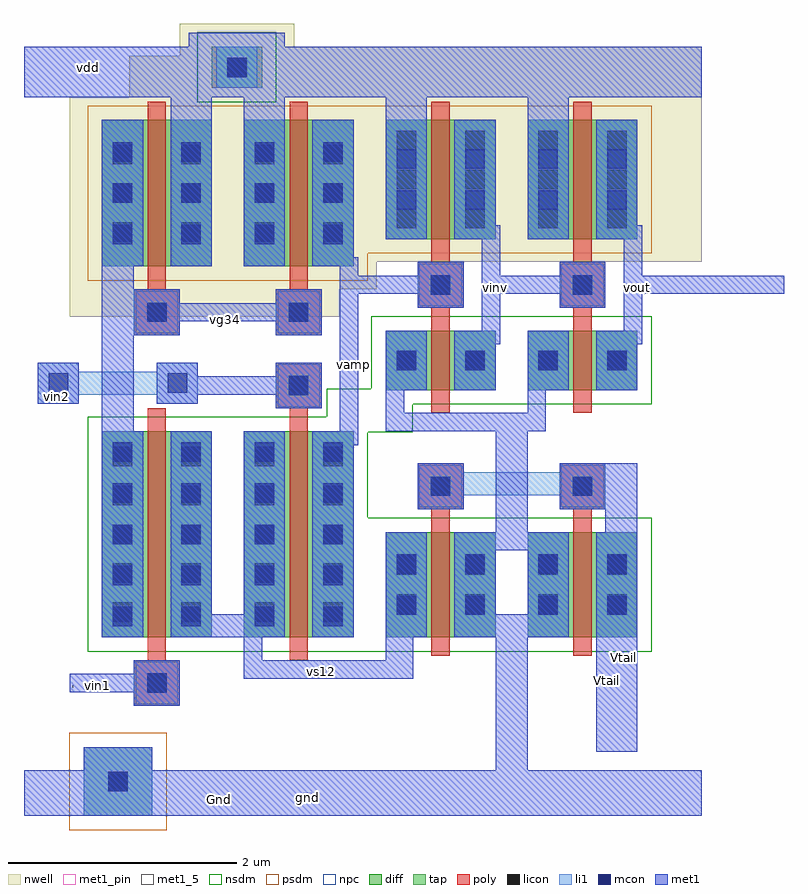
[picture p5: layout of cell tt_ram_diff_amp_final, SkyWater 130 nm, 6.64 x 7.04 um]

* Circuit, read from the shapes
.subckt tt_ram_diff_amp_final Gnd Vdd Vin1 Vin2 Vinv Vtail vamp vg34 vout vs12
XM1 vs12 Vin1 vg34 Gnd sky130_fd_pr__nfet_01v8 w=1.8 l=0.16
XM2 vamp Vin2 vs12 Gnd sky130_fd_pr__nfet_01v8 w=1.8 l=0.16
XM3 Gnd Vtail vs12 Gnd sky130_fd_pr__nfet_01v8 w=0.92 l=0.16
XM4 Vinv vamp Gnd Gnd sky130_fd_pr__nfet_01v8 w=0.52 l=0.16
XM5 Vtail Vtail Gnd Gnd sky130_fd_pr__nfet_01v8 w=0.92 l=0.16
XM6 vout Vinv Gnd Gnd sky130_fd_pr__nfet_01v8 w=0.52 l=0.16
XM7 Vdd vg34 vg34 Vdd sky130_fd_pr__pfet_01v8 w=1.28 l=0.16
XM8 vamp vg34 Vdd Vdd sky130_fd_pr__pfet_01v8 w=1.28 l=0.16
XM9 Vinv vamp Vdd Vdd sky130_fd_pr__pfet_01v8 w=1.04 l=0.16
XM10 vout Vinv Vdd Vdd sky130_fd_pr__pfet_01v8 w=1.04 l=0.16
.ends

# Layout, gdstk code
import gdstk
lib = gdstk.Library(unit=1e-6, precision=1e-09)
def R(c, l, rs):  # rectangles x0, y0, x1, y1
    for r in rs: c.add(gdstk.rectangle(r[:2], r[2:], *l))
def A(c, l, x, y, w, h, nx, ny, dx, dy):  # array of equal rectangles
    R(c, l, [(x+i*dx, y+j*dy, x+i*dx+w, y+j*dy+h) for i in range(nx) for j in range(ny)])
nwell = (64, 20)
diff = (65, 20)
tap = (65, 44)
poly = (66, 20)
licon = (66, 44)
li1 = (67, 20)
mcon = (67, 44)
met1_5 = (68, 5)
met1_pin = (68, 16)
met1 = (68, 20)
nsdm = (93, 44)
psdm = (94, 20)
npc = (95, 20)

tt_ram_diff_amp_final = lib.new_cell('tt_ram_diff_amp_final')
R(tt_ram_diff_amp_final, nwell, [(-1,0.76,1.36,1), (-1,1,1.68,1.24), (-1,1.24,4.52,2.68), (-0.48,2.68,4.52,3.04), (-0.04,3.04,4.52,3.12), (-0.04,3.12,0.96,3.32)])
R(tt_ram_diff_amp_final, diff, [(-0.72,-2.04,0.24,-0.24), (0.52,-2.04,1.48,-0.24), (1.76,-2.04,2.72,-1.12), (3,-2.04,3.96,-1.12), (1.76,0.12,2.72,0.64), (3,0.12,3.96,0.64), (-0.72,1.2,0.24,2.48), (0.52,1.2,1.48,2.48), (1.76,1.44,2.72,2.48), (3,1.44,3.96,2.48)])
R(tt_ram_diff_amp_final, tap, [(-0.88,-3.6,-0.28,-3), (0.24,2.76,0.68,3.12)])
R(tt_ram_diff_amp_final, poly, [(-0.44,-2.64,-0.04,-2.24), (-0.32,-2.24,-0.16,-0.04), (0.92,-2.24,1.08,-0.04), (2.16,-2.2,2.32,-0.92), (3.4,-2.2,3.56,-0.92), (2.04,-0.92,2.44,-0.52), (3.28,-0.92,3.68,-0.52), (2.16,-0.08,2.32,0.84), (3.4,-0.08,3.56,0.84), (0.8,-0.04,1.2,0.36), (-0.44,0.6,-0.04,1), (0.8,0.6,1.2,1), (2.04,0.84,2.44,1.24), (3.28,0.84,3.68,1.24), (-0.32,1,-0.16,2.64), (0.92,1,1.08,2.64), (2.16,1.24,2.32,2.64), (3.4,1.24,3.56,2.64)])
A(tt_ram_diff_amp_final, licon, -0.625, -1.905, 0.17, 0.17, 1, 5, 0, 0.34)
A(tt_ram_diff_amp_final, licon, -0.025, -1.905, 0.17, 0.17, 1, 5, 0, 0.34)
A(tt_ram_diff_amp_final, licon, 0.615, -1.905, 0.17, 0.17, 1, 5, 0, 0.34)
A(tt_ram_diff_amp_final, licon, 1.215, -1.905, 0.17, 0.17, 1, 5, 0, 0.34)
A(tt_ram_diff_amp_final, licon, -0.625, 1.415, 0.17, 0.17, 1, 3, 0, 0.34)
A(tt_ram_diff_amp_final, licon, -0.025, 1.415, 0.17, 0.17, 1, 3, 0, 0.34)
A(tt_ram_diff_amp_final, licon, 0.615, 1.415, 0.17, 0.17, 1, 3, 0, 0.34)
A(tt_ram_diff_amp_final, licon, 1.215, 1.415, 0.17, 0.17, 1, 3, 0, 0.34)
A(tt_ram_diff_amp_final, licon, 1.855, 1.535, 0.17, 0.17, 1, 3, 0, 0.34)
A(tt_ram_diff_amp_final, licon, 2.455, 1.535, 0.17, 0.17, 1, 3, 0, 0.34)
A(tt_ram_diff_amp_final, licon, 3.095, 1.535, 0.17, 0.17, 1, 3, 0, 0.34)
A(tt_ram_diff_amp_final, licon, 3.695, 1.535, 0.17, 0.17, 1, 3, 0, 0.34)
R(tt_ram_diff_amp_final, licon, [(-0.665,-3.385,-0.495,-3.215), (-0.325,-2.525,-0.155,-2.355), (1.855,-1.835,2.025,-1.665), (2.455,-1.835,2.625,-1.665), (3.095,-1.835,3.265,-1.665), (3.695,-1.835,3.865,-1.665), (1.855,-1.495,2.025,-1.325), (2.455,-1.495,2.625,-1.325), (3.095,-1.495,3.265,-1.325), (3.695,-1.495,3.865,-1.325), (2.155,-0.805,2.325,-0.635), (3.395,-0.805,3.565,-0.635), (0.915,0.075,1.085,0.245), (1.855,0.295,2.025,0.465), (2.455,0.295,2.625,0.465), (3.095,0.295,3.265,0.465), (3.695,0.295,3.865,0.465), (-0.325,0.715,-0.155,0.885), (0.915,0.715,1.085,0.885), (2.155,0.955,2.325,1.125), (3.395,0.955,3.565,1.125), (0.375,2.855,0.545,3.025)])
R(tt_ram_diff_amp_final, li1, [(-0.88,-3.6,-0.28,-3), (-0.44,-2.64,-0.04,-2.24), (-0.72,-2.04,-0.36,-0.24), (-0.12,-2.04,0.24,-0.24), (0.52,-2.04,0.88,-0.24), (1.12,-2.04,1.48,-0.24), (1.76,-2.04,2.12,-1.12), (2.36,-2.04,2.72,-1.12), (3,-2.04,3.36,-1.12), (3.6,-2.04,3.96,-1.12), (2.04,-0.92,2.44,-0.8), (3.28,-0.92,3.68,-0.8), (2.04,-0.8,3.68,-0.6), (2.04,-0.6,2.44,-0.52), (3.28,-0.6,3.68,-0.52), (0.8,-0.04,1.2,0.36), (-1.28,0,-0.92,0.08), (-0.24,0,0.12,0.08), (-1.28,0.08,0.12,0.28), (1.76,0.12,2.12,0.64), (2.36,0.12,2.72,0.64), (3,0.12,3.36,0.64), (3.6,0.12,3.96,0.64), (-1.28,0.28,-0.92,0.36), (-0.24,0.28,0.12,0.36), (-0.44,0.6,-0.04,1), (0.8,0.6,1.2,1), (2.04,0.84,2.44,1.24), (3.28,0.84,3.68,1.24), (-0.72,1.2,-0.36,2.48), (-0.12,1.2,0.24,2.48), (0.52,1.2,0.88,2.48), (1.12,1.2,1.48,2.48), (1.76,1.44,2.12,2.48), (2.36,1.44,2.72,2.48), (3,1.44,3.36,2.48), (3.6,1.44,3.96,2.48), (0.28,2.76,0.64,3.12)])
A(tt_ram_diff_amp_final, mcon, -0.625, -1.945, 0.17, 0.17, 1, 5, 0, 0.36)
A(tt_ram_diff_amp_final, mcon, -0.025, -1.945, 0.17, 0.17, 1, 5, 0, 0.36)
A(tt_ram_diff_amp_final, mcon, 0.615, -1.945, 0.17, 0.17, 1, 5, 0, 0.36)
A(tt_ram_diff_amp_final, mcon, 1.215, -1.945, 0.17, 0.17, 1, 5, 0, 0.36)
A(tt_ram_diff_amp_final, mcon, -0.625, 1.395, 0.17, 0.17, 1, 3, 0, 0.36)
A(tt_ram_diff_amp_final, mcon, -0.025, 1.395, 0.17, 0.17, 1, 3, 0, 0.36)
A(tt_ram_diff_amp_final, mcon, 0.615, 1.395, 0.17, 0.17, 1, 3, 0, 0.36)
A(tt_ram_diff_amp_final, mcon, 1.215, 1.395, 0.17, 0.17, 1, 3, 0, 0.36)
R(tt_ram_diff_amp_final, mcon, [(-0.665,-3.385,-0.495,-3.215), (-0.325,-2.525,-0.155,-2.355), (1.855,-1.845,2.025,-1.675), (2.455,-1.845,2.625,-1.675), (3.095,-1.845,3.265,-1.675), (3.695,-1.845,3.865,-1.675), (1.855,-1.485,2.025,-1.315), (2.455,-1.485,2.625,-1.315), (3.095,-1.485,3.265,-1.315), (3.695,-1.485,3.865,-1.315), (2.155,-0.805,2.325,-0.635), (3.395,-0.805,3.565,-0.635), (0.915,0.075,1.085,0.245), (-1.185,0.095,-1.015,0.265), (-0.145,0.095,0.025,0.265), (1.855,0.295,2.025,0.465), (2.455,0.295,2.625,0.465), (3.095,0.295,3.265,0.465), (3.695,0.295,3.865,0.465), (-0.325,0.715,-0.155,0.885), (0.915,0.715,1.085,0.885), (2.155,0.955,2.325,1.125), (3.395,0.955,3.565,1.125), (1.855,1.695,2.025,1.865), (2.455,1.695,2.625,1.865), (3.095,1.695,3.265,1.865), (3.695,1.695,3.865,1.865), (1.855,2.055,2.025,2.225), (2.455,2.055,2.625,2.225), (3.095,2.055,3.265,2.225), (3.695,2.055,3.865,2.225), (0.375,2.855,0.545,3.025)])
R(tt_ram_diff_amp_final, met1_5, [(0.3,-3.46,0.32,-3.45), (-0.98,-2.48,-0.97,-2.46), (3.68,-2.42,3.7,-2.41), (1.16,-2.36,1.24,-2.32), (3.8,-2.24,3.88,-2.2), (-1.16,0.04,-1.08,0.07), (-1.16,0.04,-1.08,0.08), (1.44,0.32,1.52,0.36), (0.32,0.72,0.4,0.76), (2.68,1,2.76,1.04), (3.92,1,4,1.04), (2.8,1.02,2.82,1.03), (-0.88,2.92,-0.8,2.96), (-0.88,2.92,-0.8,2.96)])
R(tt_ram_diff_amp_final, met1_pin, [(1.04,-3.48,1.12,-3.4), (-0.8,-2.48,-0.72,-2.44)])
R(tt_ram_diff_amp_final, met1, [(-1.4,-3.6,4.52,-3.2), (-0.88,-3.2,-0.28,-3), (2.72,-3.2,3,-2.04), (3.6,-3.04,3.96,-1.12), (-0.44,-2.64,-0.04,-2.52), (-1,-2.52,-0.04,-2.36), (0.52,-2.4,2,-2.24), (-0.44,-2.36,-0.04,-2.24), (0.52,-2.24,0.68,-2.04), (1.76,-2.24,2,-2.04), (-0.72,-2.04,-0.36,-0.24), (-0.12,-2.04,0.88,-1.84), (1.12,-2.04,1.48,-0.36), (1.76,-2.04,2.12,-1.12), (2.36,-2.04,3.36,-1.84), (-0.12,-1.84,0.24,-0.24), (0.52,-1.84,0.88,-0.24), (2.36,-1.84,2.72,-1.28), (3,-1.84,3.36,-1.28), (2.36,-1.28,3.36,-1.12), (2.72,-1.12,3,-0.24), (3.68,-1.12,3.96,-0.92), (2.04,-0.92,2.44,-0.52), (3.28,-0.92,3.96,-0.52), (1.12,-0.36,1.52,-0.24), (-0.72,-0.24,-0.44,0.6), (1.36,-0.24,1.52,0.96), (1.76,-0.24,3.16,-0.08), (1.76,-0.08,1.92,0.12), (3,-0.08,3.16,0.12), (0.8,-0.04,1.2,0.08), (-1.28,0,-0.92,0.36), (-0.24,0,0.12,0.08), (-0.24,0.08,1.2,0.24), (1.76,0.12,2.12,0.64), (2.36,0.12,2.72,0.52), (3,0.12,3.36,0.64), (3.6,0.12,3.96,0.52), (-0.24,0.24,0.12,0.36), (0.8,0.24,1.2,0.36), (2.36,0.52,2.76,0.64), (3.6,0.52,4,0.64), (-0.72,0.6,-0.04,0.72), (0.8,0.6,1.2,0.72), (2.6,0.64,2.76,0.96), (3.84,0.64,4,0.96), (-0.72,0.72,1.2,0.88), (2.04,0.84,2.44,0.96), (3.28,0.84,3.68,0.96), (-0.72,0.88,-0.04,1), (0.8,0.88,1.2,1), (1.36,0.96,2.44,1.12), (2.6,0.96,3.68,1.12), (3.84,0.96,5.24,1.12), (-0.72,1,-0.44,1.2), (1.36,1.12,1.52,1.2), (2.04,1.12,2.44,1.24), (2.6,1.12,2.76,1.44), (3.28,1.12,3.68,1.24), (3.84,1.12,4,1.44), (-0.72,1.2,-0.36,2.48), (-0.12,1.2,0.24,2.68), (0.52,1.2,0.88,2.68), (1.12,1.2,1.52,1.28), (1.12,1.28,1.48,2.48), (1.76,1.44,2.12,2.68), (2.36,1.44,2.76,1.56), (3,1.44,3.36,2.68), (3.6,1.44,4,1.56), (2.36,1.56,2.72,2.48), (3.6,1.56,3.96,2.48), (-1.4,2.68,4.52,3.12), (0.04,3.12,0.88,3.24)])
R(tt_ram_diff_amp_final, nsdm, [(-0.845,-2.165,4.085,-0.995), (-0.845,-0.995,1.605,-0.25), (-0.845,-0.25,1.995,-0.115), (1.245,-0.115,1.995,-0.005), (1.245,-0.005,4.085,0.13), (1.635,0.13,4.085,0.765), (0.115,2.635,0.805,3.245)])
R(tt_ram_diff_amp_final, psdm, [(-1.005,-3.725,-0.155,-2.875), (-0.845,1.075,1.605,1.315), (-0.845,1.315,4.085,2.605)])
R(tt_ram_diff_amp_final, npc, [(-0.425,-2.625,-0.055,-2.255), (2.055,-0.905,2.425,-0.535), (3.295,-0.905,3.665,-0.535), (0.815,-0.025,1.185,0.345), (-0.425,0.615,-0.055,0.985), (0.815,0.615,1.185,0.985), (2.055,0.855,2.425,1.225), (3.295,0.855,3.665,1.225)])
tt_ram_diff_amp_final.add(gdstk.Label('vin1', (-0.76,-2.46), layer=68, texttype=5))
tt_ram_diff_amp_final.add(gdstk.Label('gnd', (1.08,-3.44), layer=68, texttype=5))
tt_ram_diff_amp_final.add(gdstk.Label('vdd', (-0.84,2.94), layer=68, texttype=5))
tt_ram_diff_amp_final.add(gdstk.Label('vout', (3.96,1.02), layer=68, texttype=5))
tt_ram_diff_amp_final.add(gdstk.Label('vin2', (-1.12,0.06), layer=68, texttype=5))
tt_ram_diff_amp_final.add(gdstk.Label('vs12', (1.2,-2.34), layer=68, texttype=5))
tt_ram_diff_amp_final.add(gdstk.Label('vg34', (0.36,0.74), layer=68, texttype=5))
tt_ram_diff_amp_final.add(gdstk.Label('Vdd', (-0.84,2.94), layer=68, texttype=5))
tt_ram_diff_amp_final.add(gdstk.Label('Vin2', (-1.12,0.055), layer=68, texttype=5))
tt_ram_diff_amp_final.add(gdstk.Label('vamp', (1.48,0.34), layer=68, texttype=5))
tt_ram_diff_amp_final.add(gdstk.Label('vinv', (2.72,1.02), layer=68, texttype=5))
tt_ram_diff_amp_final.add(gdstk.Label('Vtail', (3.84,-2.22), layer=68, texttype=5))
tt_ram_diff_amp_final.add(gdstk.Label('Vtail', (3.69,-2.415), layer=68, texttype=5))
tt_ram_diff_amp_final.add(gdstk.Label('Vin1', (-0.975,-2.47), layer=68, texttype=5))
tt_ram_diff_amp_final.add(gdstk.Label('Gnd', (0.31,-3.455), layer=68, texttype=5))
tt_ram_diff_amp_final.add(gdstk.Label('Vinv', (2.81,1.025), layer=68, texttype=5))

lib.write_gds('tt_ram_diff_amp_final.gds')
